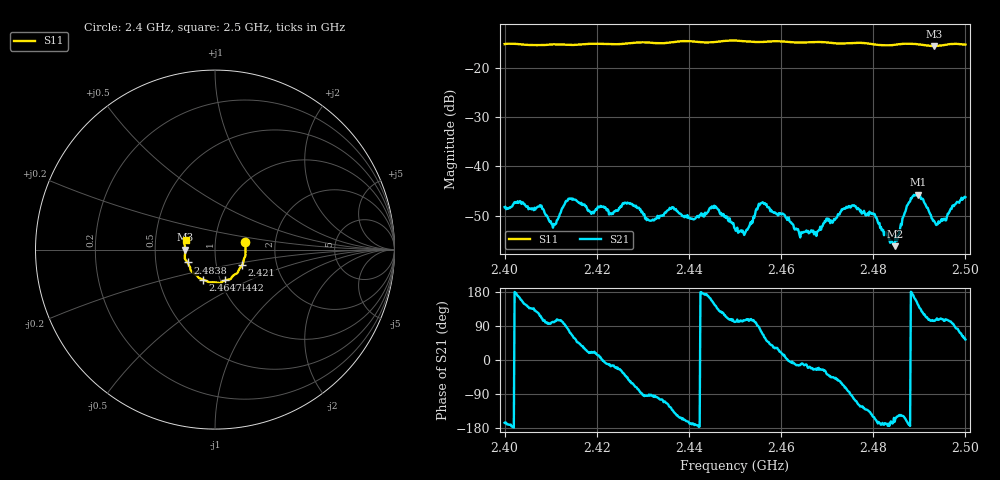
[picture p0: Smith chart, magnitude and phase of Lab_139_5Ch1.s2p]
# Hz S RI R 50
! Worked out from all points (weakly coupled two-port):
!   601 points, 2.4 GHz to 2.5 GHz, reference 50 ohm
!   highest |S21| = -45.76 dB at 2.4897 GHz (marker M1); lowest = -56.2 dB at 2.4847 GHz (marker M2)
!   lowest |S11| = -15.6 dB at 2.4932 GHz (marker M3), VSWR 1.40, Z = 35.8 - j0.0932 ohm
!   |S11| at or under -10 dB: start of sweep to end of sweep
!   S12 and S22 are empty: the file has one direction only
!   S11 on the Smith chart (normalised r, x): 2.4 GHz: 1.40, +0.12; 2.421 GHz: 1.33, -0.24; 2.4442 GHz: 1.05, -0.37; 2.4647 GHz: 0.83, -0.29; 2.4838 GHz: 0.73, -0.11; 2.5 GHz: 0.72, +0.08
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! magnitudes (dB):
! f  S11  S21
! 2.4 GHz  -15.2  -48.2
! 2.4077 GHz  -15.4  -47.9
! 2.4107 GHz  -15.3  -51.7
! 2.4137 GHz  -15.4  -47.0
! 2.4167 GHz  -15.3  -47.4
! 2.421 GHz  -15.2  -48.2
! 2.4333 GHz  -15.1  -50.2
! 2.4442 GHz  -14.9  -49.2
! 2.45 GHz  -14.5  -52.6
! 2.4523 GHz  -14.7  -53.2
! 2.456 GHz  -14.8  -47.3
! 2.4647 GHz  -14.9  -53.5
! 2.4667 GHz  -14.8  -53.0
! 2.4757 GHz  -15.0  -47.9
! 2.4802 GHz  -15.3  -49.6
! 2.4833 GHz  -15.5  -54.4
! 2.4838 GHz  -15.4  -55.1
! 2.4847 GHz  -15.4  -56.2
! 2.4877 GHz  -15.1  -47.4
! 2.4897 GHz  -15.3  -45.8
! 2.4932 GHz  -15.6  -51.0
! 2.5 GHz  -15.3  -46.2
